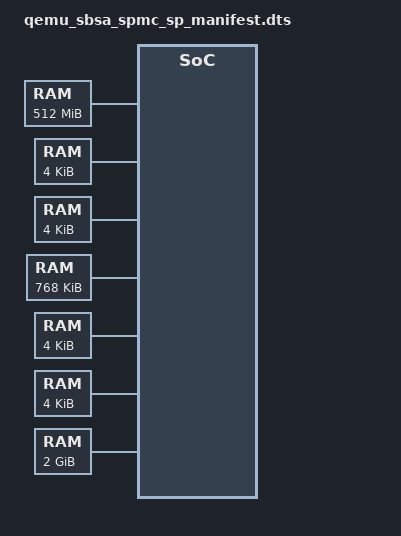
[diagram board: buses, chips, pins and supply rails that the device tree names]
/*
 * Copyright (c) 2022, Arm Limited. All rights reserved.
 *
 * SPDX-License-Identifier: BSD-3-Clause
 */
 /dts-v1/;

 #define	AFF	00

//  #include "rdfremont-defs.dtsi"
//  #undef POST
 #define	POST \
   };

 / {
   compatible = "arm,ffa-core-manifest-1.0";
   #address-cells = <2>;
   #size-cells = <2>;

   attribute {
     spmc_id = <0x8000>;
     maj_ver = <0x1>;
     min_ver = <0x1>;
     exec_state = <0x0>;
     load_address = <0x0 0x30000000>;
     entrypoint = <0x0 0x30000000>;
     binary_size = <0x80000>;
   };

   hypervisor {
     compatible = "hafnium,hafnium";
     vm1 {
       is_ffa_partition;
       debug_name = "stmm";
       load_address = <0x0 0x20002000>;
       vcpu_count = <1>;
       mem_size = <0x0 0x300000>;
     };
     /* Example Service */
     vm2 {
       is_ffa_partition;
       load_address = <0x0 0x20400000>;
       debug_name = "therm";
       vcpu_count = <1>;
       mem_size = <0x400000>;
     };
   };

   cpus {
     #address-cells = <0x2>;
     #size-cells = <0x0>;

    cpu@0 {
      device_type = "cpu";
      reg = <0x0 0x0>;
    };

    cpu@3 {
      device_type = "cpu";
      reg = <0x0 0x3>;
    };

		cpu@2 {
			device_type = "cpu";
			reg = <0x0 0x2>;
		};

		cpu@1 {
			device_type = "cpu";
			reg = <0x0 0x1>;
		};
   };

   memory@0 {
     device_type = "memory"; /* Trusted DRAM */
     reg = <0x0 0x20000000 0x0 0x20000000>;
   };

   memory@1 {
		device_type = "device-memory"; /* UART */
		reg = <0x0 0x60000000 0x0 0x00001000>;
	};

  memory@3 {
		device_type = "device-memory"; /* UART */
		reg = <0x0 0x60040000 0x0 0x00001000>;
	};

  memory@4 {
		device_type = "device-memory"; /* FLASH */
		reg = <0x0 0x01000000 0x0 0x000C0000>;
	};

  memory@5 {
		device_type = "device-memory"; /* UART */
		reg = <0x0 0x60030000 0x0 0x00001000>;
	};

  memory@6 {
		device_type = "device-memory"; /* SP1 Test Carve-out */
		reg = <0x00000100 0x1FFFE000 0x0 0x00001000>;
	};

   memory@2 {
     device_type = "ns-memory";
     reg = <0x00000100 0x00000000 0x0 0x80000000>;
   };
 };
